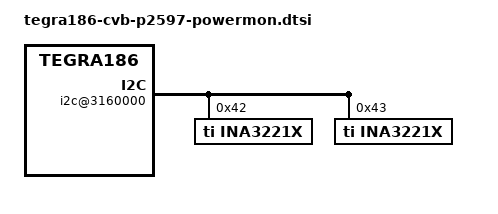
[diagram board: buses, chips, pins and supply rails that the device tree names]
/*
 * tegra186-cvb-p2597-powermon.dtsi: Tegra186 power monitor dtsi file on Quill P2597
 *
 * Copyright (c) 2015, NVIDIA CORPORATION.  All rights reserved.
 *
 * This program is free software; you can redistribute it and/or modify
 * it under the terms of the GNU General Public License as published by
 * the Free Software Foundation; version 2 of the License.
 *
 * This program is distributed in the hope that it will be useful, but WITHOUT
 * ANY WARRANTY; without even the implied warranty of MERCHANTABILITY or
 * FITNESS FOR A PARTICULAR PURPOSE.  See the GNU General Public License for
 * more details.
 */

/ {
	i2c@3160000 {
		ina3221x@42 {
			compatible = "ti,ina3221x";
			reg = <0x42>;
			ti,trigger-config = <0x7003>;
			ti,continuous-config = <0x7c07>;
			#address-cells = <1>;
			#size-cells = <0>;
			channel@0 {
				reg = <0x0>;
				ti,rail-name = "VDD_MUX";
				ti,shunt-resistor-mohm = <20>;
			};
			channel@1 {
				reg = <0x1>;
				ti,rail-name = "VDD_5V0_IO_SYS";
				ti,shunt-resistor-mohm = <5>;
			};
			channel@2 {
				reg = <0x2>;
				ti,rail-name = "VDD_3V3_SYS";
				ti,shunt-resistor-mohm = <10>;
			};
		};
		ina3221x@43 {
			compatible = "ti,ina3221x";
			reg = <0x43>;
			ti,trigger-config = <0x7003>;
			ti,continuous-config = <0x7c07>;
			#address-cells = <1>;
			#size-cells = <0>;
			channel@0 {
				reg = <0x0>;
				ti,rail-name = "VDD_3V3_IO_SLP";
				ti,shunt-resistor-mohm = <10>;
			};
			channel@1 {
				reg = <0x1>;
				ti,rail-name = "VDD_1V8_IO";
				ti,shunt-resistor-mohm = <10>;
			};
			channel@2 {
				reg = <0x2>;
				ti,rail-name = "VDD_3V3_SYS_M2";
				ti,shunt-resistor-mohm = <10>;
			};
		};
	};
};
